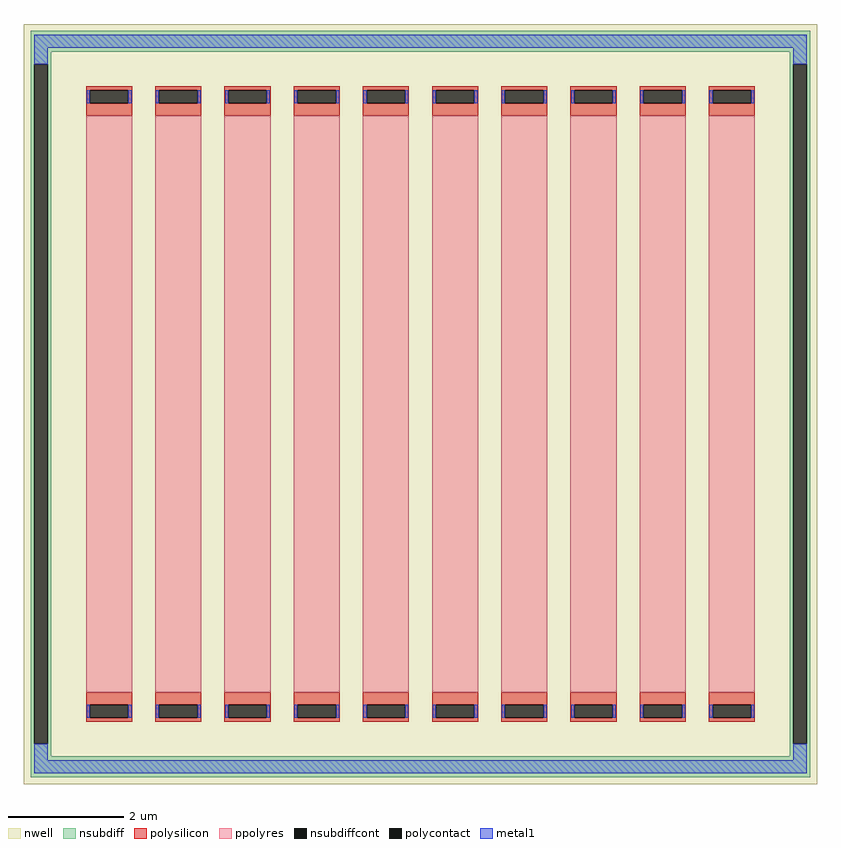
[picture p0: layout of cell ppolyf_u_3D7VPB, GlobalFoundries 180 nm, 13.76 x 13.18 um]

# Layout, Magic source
magic
tech gf180mcuC
magscale 1 10
<< nwell >>
rect -1376 -1318 1376 1318
<< nsubdiff >>
rect -1352 1222 1352 1294
rect -1352 1178 -1280 1222
rect -1352 -1178 -1339 1178
rect -1293 -1178 -1280 1178
rect 1280 1178 1352 1222
rect -1352 -1222 -1280 -1178
rect 1280 -1178 1293 1178
rect 1339 -1178 1352 1178
rect 1280 -1222 1352 -1178
rect -1352 -1294 1352 -1222
<< nsubdiffcont >>
rect -1339 -1178 -1293 1178
rect 1293 -1178 1339 1178
<< polysilicon >>
rect -1160 1089 -1000 1102
rect -1160 1043 -1147 1089
rect -1013 1043 -1000 1089
rect -1160 1000 -1000 1043
rect -1160 -1043 -1000 -1000
rect -1160 -1089 -1147 -1043
rect -1013 -1089 -1000 -1043
rect -1160 -1102 -1000 -1089
rect -920 1089 -760 1102
rect -920 1043 -907 1089
rect -773 1043 -760 1089
rect -920 1000 -760 1043
rect -920 -1043 -760 -1000
rect -920 -1089 -907 -1043
rect -773 -1089 -760 -1043
rect -920 -1102 -760 -1089
rect -680 1089 -520 1102
rect -680 1043 -667 1089
rect -533 1043 -520 1089
rect -680 1000 -520 1043
rect -680 -1043 -520 -1000
rect -680 -1089 -667 -1043
rect -533 -1089 -520 -1043
rect -680 -1102 -520 -1089
rect -440 1089 -280 1102
rect -440 1043 -427 1089
rect -293 1043 -280 1089
rect -440 1000 -280 1043
rect -440 -1043 -280 -1000
rect -440 -1089 -427 -1043
rect -293 -1089 -280 -1043
rect -440 -1102 -280 -1089
rect -200 1089 -40 1102
rect -200 1043 -187 1089
rect -53 1043 -40 1089
rect -200 1000 -40 1043
rect -200 -1043 -40 -1000
rect -200 -1089 -187 -1043
rect -53 -1089 -40 -1043
rect -200 -1102 -40 -1089
rect 40 1089 200 1102
rect 40 1043 53 1089
rect 187 1043 200 1089
rect 40 1000 200 1043
rect 40 -1043 200 -1000
rect 40 -1089 53 -1043
rect 187 -1089 200 -1043
rect 40 -1102 200 -1089
rect 280 1089 440 1102
rect 280 1043 293 1089
rect 427 1043 440 1089
rect 280 1000 440 1043
rect 280 -1043 440 -1000
rect 280 -1089 293 -1043
rect 427 -1089 440 -1043
rect 280 -1102 440 -1089
rect 520 1089 680 1102
rect 520 1043 533 1089
rect 667 1043 680 1089
rect 520 1000 680 1043
rect 520 -1043 680 -1000
rect 520 -1089 533 -1043
rect 667 -1089 680 -1043
rect 520 -1102 680 -1089
rect 760 1089 920 1102
rect 760 1043 773 1089
rect 907 1043 920 1089
rect 760 1000 920 1043
rect 760 -1043 920 -1000
rect 760 -1089 773 -1043
rect 907 -1089 920 -1043
rect 760 -1102 920 -1089
rect 1000 1089 1160 1102
rect 1000 1043 1013 1089
rect 1147 1043 1160 1089
rect 1000 1000 1160 1043
rect 1000 -1043 1160 -1000
rect 1000 -1089 1013 -1043
rect 1147 -1089 1160 -1043
rect 1000 -1102 1160 -1089
<< polycontact >>
rect -1147 1043 -1013 1089
rect -1147 -1089 -1013 -1043
rect -907 1043 -773 1089
rect -907 -1089 -773 -1043
rect -667 1043 -533 1089
rect -667 -1089 -533 -1043
rect -427 1043 -293 1089
rect -427 -1089 -293 -1043
rect -187 1043 -53 1089
rect -187 -1089 -53 -1043
rect 53 1043 187 1089
rect 53 -1089 187 -1043
rect 293 1043 427 1089
rect 293 -1089 427 -1043
rect 533 1043 667 1089
rect 533 -1089 667 -1043
rect 773 1043 907 1089
rect 773 -1089 907 -1043
rect 1013 1043 1147 1089
rect 1013 -1089 1147 -1043
<< ppolyres >>
rect -1160 -1000 -1000 1000
rect -920 -1000 -760 1000
rect -680 -1000 -520 1000
rect -440 -1000 -280 1000
rect -200 -1000 -40 1000
rect 40 -1000 200 1000
rect 280 -1000 440 1000
rect 520 -1000 680 1000
rect 760 -1000 920 1000
rect 1000 -1000 1160 1000
<< metal1 >>
rect -1339 1235 1339 1281
rect -1339 1178 -1293 1235
rect 1293 1178 1339 1235
rect -1158 1043 -1147 1089
rect -1013 1043 -1002 1089
rect -918 1043 -907 1089
rect -773 1043 -762 1089
rect -678 1043 -667 1089
rect -533 1043 -522 1089
rect -438 1043 -427 1089
rect -293 1043 -282 1089
rect -198 1043 -187 1089
rect -53 1043 -42 1089
rect 42 1043 53 1089
rect 187 1043 198 1089
rect 282 1043 293 1089
rect 427 1043 438 1089
rect 522 1043 533 1089
rect 667 1043 678 1089
rect 762 1043 773 1089
rect 907 1043 918 1089
rect 1002 1043 1013 1089
rect 1147 1043 1158 1089
rect -1158 -1089 -1147 -1043
rect -1013 -1089 -1002 -1043
rect -918 -1089 -907 -1043
rect -773 -1089 -762 -1043
rect -678 -1089 -667 -1043
rect -533 -1089 -522 -1043
rect -438 -1089 -427 -1043
rect -293 -1089 -282 -1043
rect -198 -1089 -187 -1043
rect -53 -1089 -42 -1043
rect 42 -1089 53 -1043
rect 187 -1089 198 -1043
rect 282 -1089 293 -1043
rect 427 -1089 438 -1043
rect 522 -1089 533 -1043
rect 667 -1089 678 -1043
rect 762 -1089 773 -1043
rect 907 -1089 918 -1043
rect 1002 -1089 1013 -1043
rect 1147 -1089 1158 -1043
rect -1339 -1235 -1293 -1178
rect 1293 -1235 1339 -1178
rect -1339 -1281 1339 -1235
<< properties >>
string FIXED_BBOX -1316 -1258 1316 1258
string gencell ppolyf_u
string library gf180mcu
string parameters w 0.80 l 10 m 1 nx 10 wmin 0.80 lmin 1.00 rho 315 val 4.315k dummy 0 dw 0.07 term 0.0 sterm 0.0 caplen 0.4 snake 0 glc 1 grc 1 gtc 0 gbc 0 roverlap 0 endcov 100 full_metal 1
<< end >>
